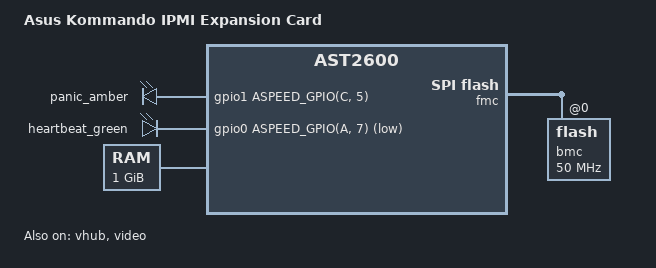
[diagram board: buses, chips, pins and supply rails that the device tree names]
// SPDX-License-Identifier: GPL-2.0-or-later
// Copyright 2025 Anirudh Srinivasan

/dts-v1/;

#include "aspeed-g6.dtsi"
#include "aspeed-g6-pinctrl.dtsi"
#include <dt-bindings/gpio/aspeed-gpio.h>

/ {
	model = "Asus Kommando IPMI Expansion Card";
	compatible = "asus,ast2600-kommando-ipmi-card", "aspeed,ast2600";

	aliases {
		serial4 = &uart5;
	};

	chosen {
		stdout-path = "serial4:115200n8";
	};

	leds {
		compatible = "gpio-leds";

		led-fault {
			gpios = <&gpio1 ASPEED_GPIO(C, 5) GPIO_ACTIVE_HIGH>;
			label = "panic_amber";
			panic-indicator;
			default-state = "off";
		};

		led-heartbeat {
			gpios = <&gpio0 ASPEED_GPIO(A, 7) GPIO_ACTIVE_LOW>;
			label = "heartbeat_green";
			linux,default-trigger = "timer";
		};

	};

	memory@80000000 {
		device_type = "memory";
		reg = <0x80000000 0x40000000>;
	};

	reserved-memory {
		#address-cells = <1>;
		#size-cells = <1>;
		ranges;

		video_engine_memory: video {
			size = <0x04000000>;
			alignment = <0x01000000>;
			compatible = "shared-dma-pool";
			reusable;
		};
	};
};

&fmc {
	status = "okay";

	flash@0 {
		status = "okay";
		m25p,fast-read;
		label = "bmc";
		spi-max-frequency = <50000000>;
#include "openbmc-flash-layout-64.dtsi"
	};
};

&gpio0 {
	gpio-line-names =
	/*A0 0*/	"", "", "", "", "", "BMC_CS_CTRLI", "", "BMC_HBLED",
	/*B0 8*/	"", "BMC_FW_EN", "BMC_HD_DETECT", "MLED_SEL", "BMCLED_SEL", "BMC_DEEPS5", "MB_S5_DETECT", "BMC_SPI_CTRLI",
	/*C0 16*/	"", "", "", "", "", "", "", "",
	/*D0 24*/	"", "", "", "", "", "", "", "",
	/*E0 32*/	"", "", "", "", "", "", "", "",
	/*F0 40*/	"", "", "", "", "BMC_UPDATEBIOS", "+3VSB", "", "",
	/*G0 48*/	"BMC_CHAFAN1_MODE", "BMC_CHAFAN2_MODE", "BMC_CHAFAN3_MODE", "BMC_CHAFAN4_MODE", "BMC_CHAFAN5_MODE", "BMC_CHAFAN6_MODE", "BMC_CHAFAN7_MODE", "BMC_CHAFAN8_MODE",
	/*H0 56*/	"", "", "", "", "", "", "BMC_PHY_LINK", "",
	/*I0 64*/	"", "", "", "BMC_RSTBTN", "", "", "", "",
	/*J0 72*/	"", "", "", "", "", "", "", "",
	/*K0 80*/	"I2C_5_SCL", "I2C_5_SDA", "", "", "", "", "", "",
	/*L0 88*/	"", "", "", "", "", "", "", "",
	/*M0 96*/	"S_RTCRST_CTRL", "O_BMC_ERP_10", "O_SEL_3.3V_1.8V_10", "S_SLPS3", "BMC_PERST_R", "SPIPWR_EN", "BMC_VGA_SW", "",
	/*N0 104*/	"CF_FTI_AUX0", "CF_FTI_AUX1", "CF_FTI_AUX2", "CF_FTI_AUX3", "CF_FTI_AUX4", "CF_FTI_AUX5", "CF_FTI_AUX6", "CF_FTI_AUX7",
	/*O0 112*/	"", "", "", "", "", "", "", "",
	/*P0 120*/	"", "", "", "", "", "", "", "",
	/*Q0 128*/	"", "", "", "", "", "", "", "",
	/*R0 136*/	"", "", "", "+12V_DETECT", "", "", "AUX_BMCLOCBTN_R", "",
	/*S0 144*/	"", "", "", "", "", "", "", "",
	/*T0 152*/	"", "", "", "", "", "", "", "",
	/*U0 160*/	"", "", "", "", "", "", "", "",
	/*V0 168*/	"", "", "", "", "BMC_PWRBTN", "", "MB_S0_DETECT", "",
	/*W0 176*/	"", "", "", "", "", "", "", "",
	/*X0 184*/	"", "BMC_INIT", "BMC_READY", "", "", "", "BMC_HWMSW", "",
	/*Y0 192*/	"", "", "BMC_RESETDIS", "", "", "", "BMC_PSONEN", "BMC_PRESENT",
	/*Z0 200*/	"", "", "BMC_PWRBTNDIS", "", "", "", "", "";
};

&gpio1 {
	gpio-line-names =
	/*18A0 0*/  "","","","","","","","",
	/*18B0 8*/  "","","","","","","","",
	/*18C0 16*/ "","","","","","BMC_MLED","","",
	/*18D0 24*/ "","","","","","","","",
	/*18E0 32*/ "","","","","","","","";
};

&vhub {
	status = "okay";
};

&video {
	status = "okay";
	memory-region = <&video_engine_memory>;
};
